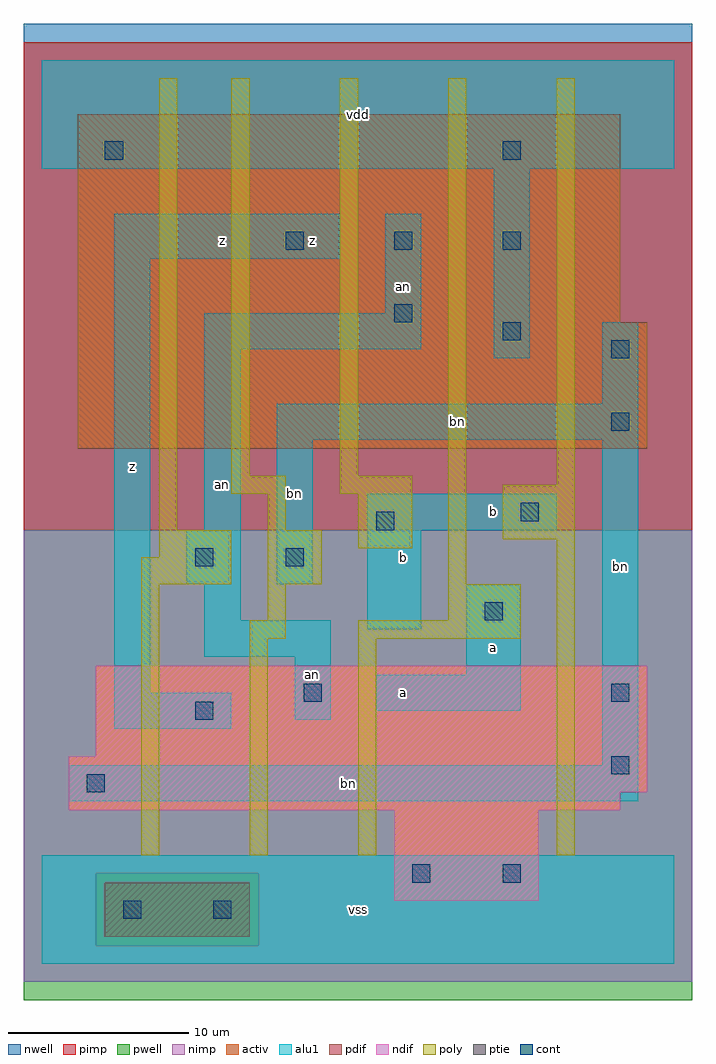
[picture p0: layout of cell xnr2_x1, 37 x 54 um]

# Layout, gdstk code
import gdstk
lib = gdstk.Library(unit=1e-6, precision=1e-09)
def R(c, l, rs):  # rectangles x0, y0, x1, y1
    for r in rs: c.add(gdstk.rectangle(r[:2], r[2:], *l))
def A(c, l, x, y, w, h, nx, ny, dx, dy):  # array of equal rectangles
    R(c, l, [(x+i*dx, y+j*dy, x+i*dx+w, y+j*dy+h) for i in range(nx) for j in range(ny)])
ndif = (3, 0)
pdif = (4, 0)
ptie = (6, 0)
cont = (25, 0)
pwell = (41, 0)
nwell = (42, 0)
activ = (43, 0)
pimp = (44, 0)
nimp = (45, 0)
poly = (46, 0)
alu1 = (49, 0)

xnr2_x1 = lib.new_cell('xnr2_x1')
R(xnr2_x1, ndif, [(19.5,3.5,27.5,8.5), (1.5,8.5,32,9.5), (1.5,9.5,33.5,11.5), (3,11.5,33.5,16.5)])
R(xnr2_x1, pdif, [(2,28.5,33.5,35.5), (2,35.5,32,47)])
R(xnr2_x1, ptie, [(3.5,1.5,11.5,4.5)])
A(xnr2_x1, cont, 13.5, 39.5, 1, 1, 3, 1, 6, 0)
R(xnr2_x1, cont, [(4.5,2.5,5.5,3.5), (9.5,2.5,10.5,3.5), (20.5,4.5,21.5,5.5), (25.5,4.5,26.5,5.5), (2.5,9.5,3.5,10.5), (31.5,10.5,32.5,11.5), (8.5,13.5,9.5,14.5), (14.5,14.5,15.5,15.5), (31.5,14.5,32.5,15.5), (24.5,19,25.5,20), (8.5,22,9.5,23), (13.5,22,14.5,23), (18.5,24,19.5,25), (26.5,24.5,27.5,25.5), (31.5,29.5,32.5,30.5), (31.5,33.5,32.5,34.5), (25.5,34.5,26.5,35.5), (19.5,35.5,20.5,36.5), (3.5,44.5,4.5,45.5), (25.5,44.5,26.5,45.5)])
R(xnr2_x1, pwell, [(-1,-2,36,24)])
R(xnr2_x1, nwell, [(-1,24,36,52)])
R(xnr2_x1, activ, [(3.5,1.5,11.5,4.5), (19.5,3.5,27.5,8.5), (1.5,8.5,32,9.5), (1.5,9.5,33.5,11.5), (3,11.5,33.5,16.5), (2,28.5,33.5,35.5), (2,35.5,32,47)])
R(xnr2_x1, pimp, [(3,1,12,5), (-1,24,36,51)])
R(xnr2_x1, nimp, [(-1,-1,36,1), (-1,1,3,5), (12,1,36,5), (-1,5,36,24)])
R(xnr2_x1, poly, [(5.5,6,6.5,21), (11.5,6,12.5,18), (17.5,6,18.5,18), (28.5,6,29.5,23.5), (11.5,18,13.5,19), (17.5,18,26.5,19), (12.5,19,13.5,21), (22.5,19,26.5,21), (5.5,21,10.5,22.5), (12.5,21,15.5,24), (22.5,21,23.5,49), (6.5,22.5,10.5,24), (17.5,23,20.5,26), (25.5,23.5,29.5,26.5), (6.5,24,7.5,49), (12.5,24,13.5,26), (10.5,26,13.5,27), (16.5,26,20.5,27), (28.5,26.5,29.5,49), (10.5,27,11.5,49), (16.5,27,17.5,49)])
R(xnr2_x1, alu1, [(0,0,35,6), (1.5,9,33,11), (31,11,33,29), (4,13,10.5,15), (14,13.5,16,17), (18.5,14,26.5,16), (4,15,6,39), (23.5,16,26.5,21), (9,17,16,19), (18,18.5,21,24), (9,19,11,21), (8,21,11,24), (13,21,15,29), (9,24,11,34), (18,24,28.5,26), (13,29,33,31), (31,31,33,35.5), (25,33.5,27,44), (9,34,21,36), (19,36,21,41.5), (4,39,16.5,41.5), (0,44,35,50)])
xnr2_x1.add(gdstk.Label('z', (5,27.5), layer=49, texttype=0))
xnr2_x1.add(gdstk.Label('an', (15,16), layer=49, texttype=0))
xnr2_x1.add(gdstk.Label('bn', (14,26), layer=49, texttype=0))
xnr2_x1.add(gdstk.Label('an', (10,26.5), layer=49, texttype=0))
xnr2_x1.add(gdstk.Label('z', (10,40), layer=49, texttype=0))
xnr2_x1.add(gdstk.Label('z', (15,40), layer=49, texttype=0))
xnr2_x1.add(gdstk.Label('vss', (17.5,3), layer=49, texttype=0))
xnr2_x1.add(gdstk.Label('b', (20,22.5), layer=49, texttype=0))
xnr2_x1.add(gdstk.Label('a', (20,15), layer=49, texttype=0))
xnr2_x1.add(gdstk.Label('a', (25,17.5), layer=49, texttype=0))
xnr2_x1.add(gdstk.Label('b', (25,25), layer=49, texttype=0))
xnr2_x1.add(gdstk.Label('an', (20,37.5), layer=49, texttype=0))
xnr2_x1.add(gdstk.Label('vdd', (17.5,47), layer=49, texttype=0))
xnr2_x1.add(gdstk.Label('bn', (17,10), layer=49, texttype=0))
xnr2_x1.add(gdstk.Label('bn', (32,22), layer=49, texttype=0))
xnr2_x1.add(gdstk.Label('bn', (23,30), layer=49, texttype=0))

lib.write_gds('xnr2_x1.gds')
